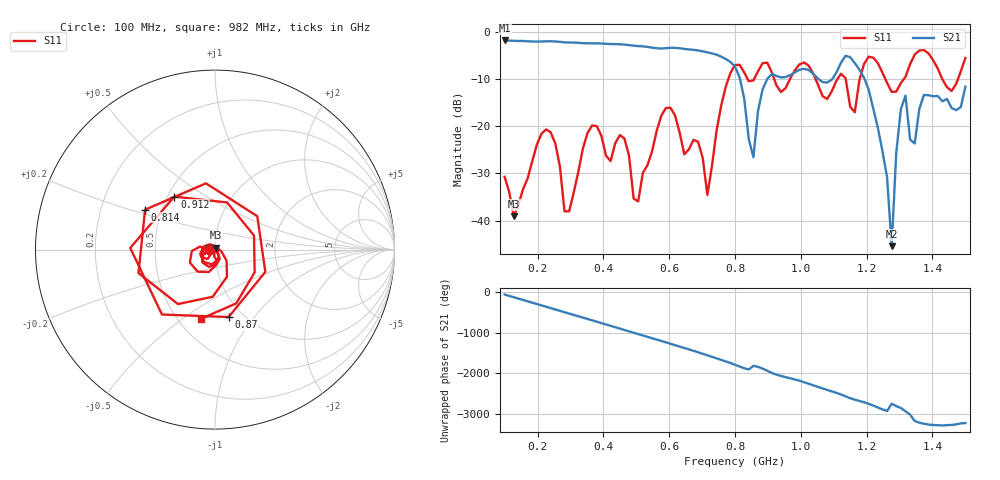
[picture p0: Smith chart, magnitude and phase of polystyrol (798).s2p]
! NanoVNA-App
! Date: 2025-09-25 15:36:05
! Start: 100MHz Stop: 1,5GHz Points: 101
! S-Parameter data: F S11 S21 S12 S22
# Hz S RI R 50
!  Frequency  S11_Real  S11_Imag  S21_Real  S21_Imag  S12_Real  S12_Imag  S22_Real  S22_Imag
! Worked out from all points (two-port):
!   101 points, 100 MHz to 1.5 GHz, reference 50 ohm
!   highest |S21| = -1.80 dB at 100 MHz (marker M1); lowest = -45.4 dB at 1.276 GHz (marker M2)
!   |S21| within 3 dB of the highest: start of sweep to 743.1 MHz
!   lowest |S11| = -39.1 dB at 128 MHz (marker M3), VSWR 1.02, Z = 50.3 + j1.06 ohm
!   |S11| at or under -10 dB: start of sweep to 779.7 MHz; 1.045 GHz to 1.111 GHz (66.31 MHz wide, 6.15 % of centre); 1.257 GHz to 1.313 GHz (55.97 MHz wide, 4.36 % of centre) (the widest 3 of 7)
!   S12 and S22 are empty: the file has one direction only
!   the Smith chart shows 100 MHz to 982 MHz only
!   S11 on the Smith chart (normalised r, x): 100 MHz: 0.94, -0.01; 814 MHz: 0.40, +0.22; 870 MHz: 0.86, -0.76; 912 MHz: 0.54, +0.37; 982 MHz: 0.64, -0.59
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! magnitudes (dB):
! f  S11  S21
! 100 MHz  -30.7  -1.8
! 128 MHz  -39.1  -1.9
! 212 MHz  -21.6  -2.0
! 282 MHz  -38.0  -2.2
! 338 MHz  -24.7  -2.4
! 464 MHz  -22.6  -2.7
! 506 MHz  -35.9  -3.0
! 576 MHz  -17.8  -3.5
! 716 MHz  -34.6  -4.3
! 800 MHz  -7.0  -7.4
! 814 MHz  -7.0  -9.6
! 856 MHz  -10.3  -26.6
! 870 MHz  -8.3  -16.7
! 912 MHz  -8.6  -8.9
! 982 MHz  -8.1  -8.5
! 1.038 GHz  -8.9  -8.9
! 1.164 GHz  -17.0  -6.6
! 1.192 GHz  -6.8  -9.7
! 1.276 GHz  -12.7  -45.4
! 1.318 GHz  -9.5  -13.5
! 1.346 GHz  -4.8  -23.6
! 1.5 GHz  -5.5  -11.6
